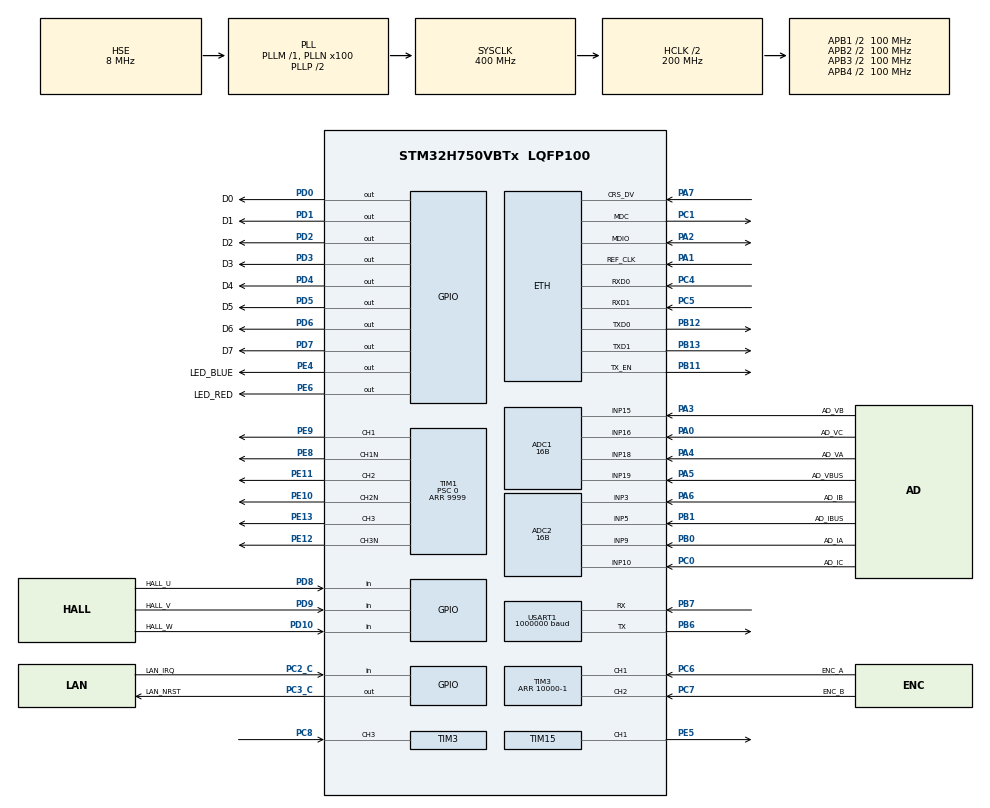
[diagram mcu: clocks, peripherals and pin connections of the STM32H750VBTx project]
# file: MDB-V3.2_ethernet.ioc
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ADC1.Channel-0\#ChannelRegularConversion=ADC_CHANNEL_18
ADC1.Channel-1\#ChannelRegularConversion=ADC_CHANNEL_15
ADC1.Channel-2\#ChannelRegularConversion=ADC_CHANNEL_16
ADC1.Channel-3\#ChannelRegularConversion=ADC_CHANNEL_19
ADC1.ClockPrescaler=ADC_CLOCK_SYNC_PCLK_DIV4
ADC1.ConversionDataManagement=ADC_CONVERSIONDATA_DMA_CIRCULAR
ADC1.EOCSelection=ADC_EOC_SEQ_CONV
ADC1.ExternalTrigConv=ADC_EXTERNALTRIG_T1_TRGO
ADC1.ExternalTrigConvEdge=ADC_EXTERNALTRIGCONVEDGE_RISINGFALLING
ADC1.NbrOfConversion=4
ADC1.NbrOfConversionFlag=1
ADC1.OffsetNumber-0\#ChannelRegularConversion=ADC_OFFSET_NONE
ADC1.OffsetNumber-1\#ChannelRegularConversion=ADC_OFFSET_NONE
ADC1.OffsetNumber-2\#ChannelRegularConversion=ADC_OFFSET_NONE
ADC1.OffsetNumber-3\#ChannelRegularConversion=ADC_OFFSET_NONE
ADC1.OffsetSignedSaturation-0\#ChannelRegularConversion=DISABLE
ADC1.Rank-0\#ChannelRegularConversion=1
ADC1.Rank-1\#ChannelRegularConversion=2
ADC1.Rank-2\#ChannelRegularConversion=3
ADC1.Rank-3\#ChannelRegularConversion=4
ADC1.Resolution=ADC_RESOLUTION_16B
ADC1.SamplingTime-0\#ChannelRegularConversion=ADC_SAMPLETIME_16CYCLES_5
ADC1.SamplingTime-1\#ChannelRegularConversion=ADC_SAMPLETIME_16CYCLES_5
ADC1.SamplingTime-2\#ChannelRegularConversion=ADC_SAMPLETIME_16CYCLES_5
ADC1.SamplingTime-3\#ChannelRegularConversion=ADC_SAMPLETIME_16CYCLES_5
ADC1.master=1
ADC2.Channel-0\#ChannelRegularConversion=ADC_CHANNEL_9
ADC2.Channel-1\#ChannelRegularConversion=ADC_CHANNEL_3
ADC2.Channel-2\#ChannelRegularConversion=ADC_CHANNEL_10
ADC2.Channel-3\#ChannelRegularConversion=ADC_CHANNEL_5
ADC2.ClockPrescaler=ADC_CLOCK_SYNC_PCLK_DIV4
ADC2.ConversionDataManagement=ADC_CONVERSIONDATA_DMA_CIRCULAR
ADC2.EOCSelection=ADC_EOC_SEQ_CONV
ADC2.ExternalTrigConv=ADC_EXTERNALTRIG_T1_TRGO
ADC2.ExternalTrigConvEdge=ADC_EXTERNALTRIGCONVEDGE_RISINGFALLING
ADC2.NbrOfConversion=4
ADC2.NbrOfConversionFlag=1
ADC2.OffsetNumber-0\#ChannelRegularConversion=ADC_OFFSET_NONE
ADC2.OffsetNumber-1\#ChannelRegularConversion=ADC_OFFSET_NONE
ADC2.OffsetNumber-2\#ChannelRegularConversion=ADC_OFFSET_NONE
ADC2.OffsetNumber-3\#ChannelRegularConversion=ADC_OFFSET_NONE
ADC2.OffsetSignedSaturation-0\#ChannelRegularConversion=DISABLE
ADC2.OffsetSignedSaturation-1\#ChannelRegularConversion=DISABLE
ADC2.OffsetSignedSaturation-2\#ChannelRegularConversion=DISABLE
ADC2.OffsetSignedSaturation-3\#ChannelRegularConversion=DISABLE
ADC2.Rank-0\#ChannelRegularConversion=1
ADC2.Rank-1\#ChannelRegularConversion=2
ADC2.Rank-2\#ChannelRegularConversion=3
ADC2.Rank-3\#ChannelRegularConversion=4
ADC2.Resolution=ADC_RESOLUTION_16B
ADC2.SamplingTime-0\#ChannelRegularConversion=ADC_SAMPLETIME_16CYCLES_5
ADC2.SamplingTime-1\#ChannelRegularConversion=ADC_SAMPLETIME_16CYCLES_5
ADC2.SamplingTime-2\#ChannelRegularConversion=ADC_SAMPLETIME_16CYCLES_5
ADC2.SamplingTime-3\#ChannelRegularConversion=ADC_SAMPLETIME_16CYCLES_5
CORTEX_M7.AccessPermission_S-Cortex_Memory_Protection_Unit_Region1_Settings_S=MPU_REGION_FULL_ACCESS
CORTEX_M7.AccessPermission_Spec=MPU_REGION_FULL_ACCESS
CORTEX_M7.BaseAddress_S-Cortex_Memory_Protection_Unit_Region1_Settings_S=0x30004000
CORTEX_M7.BaseAddress_Spec=0x30000000
CORTEX_M7.CPU_DCache=Enabled
CORTEX_M7.CPU_ICache=Enabled
CORTEX_M7.DisableExec_Spec=MPU_INSTRUCTION_ACCESS_ENABLE
CORTEX_M7.Enable-Cortex_Memory_Protection_Unit_Region0_Settings=__NULL
CORTEX_M7.Enable-Cortex_Memory_Protection_Unit_Region1_Settings=__NULL
CORTEX_M7.Enable_S-Cortex_Memory_Protection_Unit_Region1_Settings_S=MPU_REGION_ENABLE
CORTEX_M7.IsBufferable_S-Cortex_Memory_Protection_Unit_Region1_Settings_S=MPU_ACCESS_NOT_BUFFERABLE
CORTEX_M7.IsBufferable_Spec=MPU_ACCESS_BUFFERABLE
CORTEX_M7.IsCacheable_S-Cortex_Memory_Protection_Unit_Region1_Settings_S=MPU_ACCESS_NOT_CACHEABLE
CORTEX_M7.IsCacheable_Spec=MPU_ACCESS_NOT_CACHEABLE
CORTEX_M7.IsShareable_S-Cortex_Memory_Protection_Unit_Region1_Settings_S=MPU_ACCESS_SHAREABLE
CORTEX_M7.IsShareable_Spec=MPU_ACCESS_NOT_SHAREABLE
CORTEX_M7.MPU_Control=MPU_PRIVILEGED_DEFAULT
CORTEX_M7.Size_S-Cortex_Memory_Protection_Unit_Region1_Settings_S=MPU_REGION_SIZE_16KB
CORTEX_M7.Size_Spec=MPU_REGION_SIZE_256B
CORTEX_M7.SubRegionDisable_Spec=0x00
CORTEX_M7.TypeExtField_S-Cortex_Memory_Protection_Unit_Region1_Settings_S=MPU_TEX_LEVEL1
CORTEX_M7.default_mode_Activation=1
Dma.ADC1.0.Direction=DMA_PERIPH_TO_MEMORY
Dma.ADC1.0.EventEnable=DISABLE
Dma.ADC1.0.FIFOMode=DMA_FIFOMODE_DISABLE
Dma.ADC1.0.Instance=DMA1_Stream0
Dma.ADC1.0.MemDataAlignment=DMA_MDATAALIGN_HALFWORD
Dma.ADC1.0.MemInc=DMA_MINC_ENABLE
Dma.ADC1.0.Mode=DMA_CIRCULAR
Dma.ADC1.0.PeriphDataAlignment=DMA_PDATAALIGN_HALFWORD
Dma.ADC1.0.PeriphInc=DMA_PINC_DISABLE
Dma.ADC1.0.Polarity=HAL_DMAMUX_REQ_GEN_RISING
Dma.ADC1.0.Priority=DMA_PRIORITY_HIGH
Dma.ADC1.0.RequestNumber=1
Dma.ADC1.0.SignalID=NONE
Dma.ADC1.0.SyncEnable=DISABLE
Dma.ADC1.0.SyncPolarity=HAL_DMAMUX_SYNC_NO_EVENT
Dma.ADC1.0.SyncRequestNumber=1
Dma.ADC1.0.SyncSignalID=NONE
Dma.ADC2.1.Direction=DMA_PERIPH_TO_MEMORY
Dma.ADC2.1.EventEnable=DISABLE
Dma.ADC2.1.FIFOMode=DMA_FIFOMODE_DISABLE
Dma.ADC2.1.Instance=DMA1_Stream1
Dma.ADC2.1.MemDataAlignment=DMA_MDATAALIGN_HALFWORD
Dma.ADC2.1.MemInc=DMA_MINC_ENABLE
Dma.ADC2.1.Mode=DMA_CIRCULAR
Dma.ADC2.1.PeriphDataAlignment=DMA_PDATAALIGN_HALFWORD
Dma.ADC2.1.PeriphInc=DMA_PINC_DISABLE
Dma.ADC2.1.Polarity=HAL_DMAMUX_REQ_GEN_RISING
Dma.ADC2.1.Priority=DMA_PRIORITY_HIGH
Dma.ADC2.1.RequestNumber=1
Dma.ADC2.1.SignalID=NONE
Dma.ADC2.1.SyncEnable=DISABLE
Dma.ADC2.1.SyncPolarity=HAL_DMAMUX_SYNC_NO_EVENT
Dma.ADC2.1.SyncRequestNumber=1
Dma.ADC2.1.SyncSignalID=NONE
Dma.Request0=ADC1
Dma.Request1=ADC2
Dma.Request2=USART1_RX
Dma.Request3=USART1_TX
Dma.USART1_RX.2.Direction=DMA_PERIPH_TO_MEMORY
Dma.USART1_RX.2.EventEnable=DISABLE
Dma.USART1_RX.2.FIFOMode=DMA_FIFOMODE_DISABLE
Dma.USART1_RX.2.Instance=DMA1_Stream2
Dma.USART1_RX.2.MemDataAlignment=DMA_MDATAALIGN_BYTE
Dma.USART1_RX.2.MemInc=DMA_MINC_ENABLE
Dma.USART1_RX.2.Mode=DMA_NORMAL
Dma.USART1_RX.2.PeriphDataAlignment=DMA_PDATAALIGN_BYTE
Dma.USART1_RX.2.PeriphInc=DMA_PINC_DISABLE
Dma.USART1_RX.2.Polarity=HAL_DMAMUX_REQ_GEN_RISING
Dma.USART1_RX.2.Priority=DMA_PRIORITY_LOW
Dma.USART1_RX.2.RequestNumber=1
Dma.USART1_RX.2.SignalID=NONE
Dma.USART1_RX.2.SyncEnable=DISABLE
Dma.USART1_RX.2.SyncPolarity=HAL_DMAMUX_SYNC_NO_EVENT
Dma.USART1_RX.2.SyncRequestNumber=1
Dma.USART1_RX.2.SyncSignalID=NONE
Dma.USART1_TX.3.Direction=DMA_MEMORY_TO_PERIPH
Dma.USART1_TX.3.EventEnable=DISABLE
Dma.USART1_TX.3.FIFOMode=DMA_FIFOMODE_DISABLE
Dma.USART1_TX.3.Instance=DMA1_Stream3
Dma.USART1_TX.3.MemDataAlignment=DMA_MDATAALIGN_BYTE
Dma.USART1_TX.3.MemInc=DMA_MINC_ENABLE
Dma.USART1_TX.3.Mode=DMA_NORMAL
Dma.USART1_TX.3.PeriphDataAlignment=DMA_PDATAALIGN_BYTE
Dma.USART1_TX.3.PeriphInc=DMA_PINC_DISABLE
Dma.USART1_TX.3.Polarity=HAL_DMAMUX_REQ_GEN_RISING
Dma.USART1_TX.3.Priority=DMA_PRIORITY_LOW
Dma.USART1_TX.3.RequestNumber=1
Dma.USART1_TX.3.SignalID=NONE
Dma.USART1_TX.3.SyncEnable=DISABLE
Dma.USART1_TX.3.SyncPolarity=HAL_DMAMUX_SYNC_NO_EVENT
Dma.USART1_TX.3.SyncRequestNumber=1
Dma.USART1_TX.3.SyncSignalID=NONE
ETH.MediaInterface=HAL_ETH_RMII_MODE
ETH.RxBuffLen=1524
ETH.RxBufferAddress=0x30000200
ETH.RxDescAddress=0x30000000
ETH.TxDescAddress=0x30000060
LWIP.BSP.number=1
LWIP.GATEWAY_ADDRESS=192.168.001.001
LWIP.IP_ADDRESS=192.168.001.101
LWIP.LWIP_DHCP=0
LWIP.LWIP_RAM_HEAP_POINTER=0x30004000
LWIP.NETMASK_ADDRESS=255.255.255.000
LWIP.Version=v2.1.2_Cube
LWIP0.BSP.STBoard=false
LWIP0.BSP.api=BSP_COMPONENT_DRIVER
LWIP0.BSP.component=USER_PHY
LWIP0.BSP.instance=USER_PHY
LWIP0.BSP.name=Driver_PHY
LWIP0.BSP.semaphore=S_USER_PHY
LWIP0.BSP.solution=USER_PHY
Mcu.Family=STM32H7
Mcu.Name=STM32H750VBTx
Mcu.Package=LQFP100
NVIC.DMA1_Stream0_IRQn=true\:0\:0\:false\:false\:true\:false\:true\:true
NVIC.DMA1_Stream1_IRQn=true\:0\:0\:false\:false\:true\:false\:true\:true
NVIC.DMA1_Stream2_IRQn=true\:0\:0\:false\:false\:true\:false\:true\:true
NVIC.DMA1_Stream3_IRQn=true\:0\:0\:false\:false\:true\:false\:true\:true
NVIC.ETH_IRQn=true\:0\:0\:false\:false\:true\:true\:true\:true
NVIC.PriorityGroup=NVIC_PRIORITYGROUP_4
NVIC.TIM1_UP_IRQn=true\:0\:0\:false\:false\:true\:true\:true\:true
NVIC.TIM3_IRQn=true\:0\:0\:false\:false\:true\:true\:true\:true
NVIC.USART1_IRQn=true\:0\:0\:false\:false\:true\:true\:true\:true
PA0.GPIO_Label=AD_VC
PA0.Mode=IN16-Single-Ended
PA0.Signal=ADC1_INP16
PA1.GPIO_Speed=GPIO_SPEED_FREQ_VERY_HIGH
PA1.Mode=RMII
PA1.Signal=ETH_REF_CLK
PA13\ (JTMS/SWDIO).Mode=Serial_Wire
PA13\ (JTMS/SWDIO).Signal=DEBUG_JTMS-SWDIO
PA14\ (JTCK/SWCLK).Mode=Serial_Wire
PA14\ (JTCK/SWCLK).Signal=DEBUG_JTCK-SWCLK
PA2.GPIO_PuPd=GPIO_NOPULL
PA2.GPIO_Speed=GPIO_SPEED_FREQ_VERY_HIGH
PA2.Mode=RMII
PA2.Signal=ETH_MDIO
PA3.GPIO_Label=AD_VB
PA3.Signal=ADCx_INP15
PA4.GPIO_Label=AD_VA
PA4.Signal=ADCx_INP18
PA5.GPIO_Label=AD_VBUS
PA5.Signal=ADCx_INP19
PA6.GPIO_Label=AD_IB
PA6.Signal=ADCx_INP3
PA7.GPIO_Speed=GPIO_SPEED_FREQ_VERY_HIGH
PA7.Mode=RMII
PA7.Signal=ETH_CRS_DV
PB0.GPIO_Label=AD_IA
PB0.Signal=ADCx_INP9
PB1.GPIO_Label=AD_IBUS
PB1.Signal=ADCx_INP5
PB11.GPIO_Speed=GPIO_SPEED_FREQ_VERY_HIGH
PB11.Mode=RMII
PB11.Signal=ETH_TX_EN
PB12.GPIO_Speed=GPIO_SPEED_FREQ_VERY_HIGH
PB12.Mode=RMII
PB12.Signal=ETH_TXD0
PB13.GPIO_Speed=GPIO_SPEED_FREQ_VERY_HIGH
PB13.Mode=RMII
PB13.Signal=ETH_TXD1
PB6.GPIO_ModeDefaultOD=GPIO_MODE_AF_PP
PB6.Mode=Asynchronous
PB6.Signal=USART1_TX
PB7.Mode=Asynchronous
PB7.Signal=USART1_RX
PB8.Signal=FDCAN1_RX
PB9.Signal=FDCAN1_TX
PC0.GPIO_Label=AD_IC
PC0.Signal=ADCx_INP10
PC1.GPIO_Speed=GPIO_SPEED_FREQ_VERY_HIGH
PC1.Mode=RMII
PC1.Signal=ETH_MDC
PC2_C.GPIO_Label=LAN_IRQ
PC2_C.Signal=GPIO_Input
PC3_C.GPIO_Label=LAN_NRST
PC3_C.PinState=GPIO_PIN_SET
PC3_C.Signal=GPIO_Output
PC4.GPIO_Speed=GPIO_SPEED_FREQ_VERY_HIGH
PC4.Mode=RMII
PC4.Signal=ETH_RXD0
PC5.GPIO_Speed=GPIO_SPEED_FREQ_VERY_HIGH
PC5.Mode=RMII
PC5.Signal=ETH_RXD1
PC6.GPIO_Label=ENC_A
PC6.Signal=S_TIM3_CH1
PC7.GPIO_Label=ENC_B
PC7.Signal=S_TIM3_CH2
PC8.Signal=S_TIM3_CH3
PD0.GPIO_Label=D0
PD0.Signal=GPIO_Output
PD1.GPIO_Label=D1
PD1.Signal=GPIO_Output
PD10.GPIO_Label=HALL_W
PD10.Signal=GPIO_Input
PD2.GPIO_Label=D2
PD2.Signal=GPIO_Output
PD3.GPIO_Label=D3
PD3.Signal=GPIO_Output
PD4.GPIO_Label=D4
PD4.Signal=GPIO_Output
PD5.GPIO_Label=D5
PD5.Signal=GPIO_Output
PD6.GPIO_Label=D6
PD6.Signal=GPIO_Output
PD7.GPIO_Label=D7
PD7.Signal=GPIO_Output
PD8.GPIO_Label=HALL_U
PD8.Signal=GPIO_Input
PD9.GPIO_Label=HALL_V
PD9.Signal=GPIO_Input
PE10.GPIO_Speed=GPIO_SPEED_FREQ_HIGH
PE10.Mode=PWM Generation2 CH2 CH2N
PE10.Signal=TIM1_CH2N
PE11.GPIO_Speed=GPIO_SPEED_FREQ_HIGH
PE11.Signal=S_TIM1_CH2
PE12.GPIO_Speed=GPIO_SPEED_FREQ_HIGH
PE12.Mode=PWM Generation3 CH3 CH3N
PE12.Signal=TIM1_CH3N
PE13.GPIO_Speed=GPIO_SPEED_FREQ_HIGH
PE13.Signal=S_TIM1_CH3
PE4.GPIO_Label=LED_BLUE
PE4.Signal=GPIO_Output
PE5.GPIO_Speed=GPIO_SPEED_FREQ_VERY_HIGH
PE5.Signal=S_TIM15_CH1
PE6.GPIO_Label=LED_RED
PE6.Signal=GPIO_Output
PE8.GPIO_Speed=GPIO_SPEED_FREQ_HIGH
PE8.Mode=PWM Generation1 CH1 CH1N
PE8.Signal=TIM1_CH1N
PE9.GPIO_Speed=GPIO_SPEED_FREQ_HIGH
PE9.Signal=S_TIM1_CH1
PH0-OSC_IN\ (PH0).Mode=HSE-External-Oscillator
PH0-OSC_IN\ (PH0).Signal=RCC_OSC_IN
PH1-OSC_OUT\ (PH1).Mode=HSE-External-Oscillator
PH1-OSC_OUT\ (PH1).Signal=RCC_OSC_OUT
ProjectManager.HeapSize=0x800
ProjectManager.StackSize=0x1000
ProjectManager.TargetToolchain=STM32CubeIDE
RCC.ADCCLockSelection=RCC_ADCCLKSOURCE_CLKP
RCC.ADCFreq_Value=64000000
RCC.APB1Freq_Value=100000000
RCC.APB2Freq_Value=100000000
RCC.APB3Freq_Value=100000000
RCC.APB4Freq_Value=100000000
RCC.CortexFreq_Value=400000000
RCC.D1PPRE=RCC_APB3_DIV2
RCC.D2PPRE1=RCC_APB1_DIV2
RCC.D2PPRE2=RCC_APB2_DIV2
RCC.D3PPRE=RCC_APB4_DIV2
RCC.DIVM1=1
RCC.DIVM2=1
RCC.DIVM3=1
RCC.DIVN1=100
RCC.DIVN2=36
RCC.DIVN3=50
RCC.DIVQ1=8
RCC.DIVQ2=8
RCC.DIVR1=4
RCC.HCLKFreq_Value=200000000
RCC.HPRE=RCC_HCLK_DIV2
RCC.HSE_VALUE=8000000
RCC.PLL2FRACN=0
RCC.PLLFRACN=0
RCC.PLLSourceVirtual=RCC_PLLSOURCE_HSE
RCC.SYSCLKFreq_VALUE=400000000
RCC.SYSCLKSource=RCC_SYSCLKSOURCE_PLLCLK
RCC.USBFreq_Value=100000000
SH.ADCx_INP10.0=ADC2_INP10,IN10-Single-Ended
SH.ADCx_INP15.0=ADC1_INP15,IN15-Single-Ended
SH.ADCx_INP18.0=ADC1_INP18,IN18-Single-Ended
SH.ADCx_INP19.0=ADC1_INP19,IN19-Single-Ended
SH.ADCx_INP3.0=ADC2_INP3,IN3-Single-Ended
SH.ADCx_INP5.0=ADC2_INP5,IN5-Single-Ended
SH.ADCx_INP9.0=ADC2_INP9,IN9-Single-Ended
SH.S_TIM15_CH1.0=TIM15_CH1,PWM Generation1 CH1
SH.S_TIM1_CH1.0=TIM1_CH1,PWM Generation1 CH1 CH1N
SH.S_TIM1_CH2.0=TIM1_CH2,PWM Generation2 CH2 CH2N
SH.S_TIM1_CH3.0=TIM1_CH3,PWM Generation3 CH3 CH3N
SH.S_TIM3_CH1.0=TIM3_CH1,Encoder_Interface
SH.S_TIM3_CH2.0=TIM3_CH2,Encoder_Interface
SH.S_TIM3_CH3.0=TIM3_CH3,Input_Capture3_from_TI3
TIM1.AutoReloadPreload=TIM_AUTORELOAD_PRELOAD_ENABLE
TIM1.Channel-PWM\ Generation1\ CH1\ CH1N=TIM_CHANNEL_1
TIM1.Channel-PWM\ Generation2\ CH2\ CH2N=TIM_CHANNEL_2
TIM1.Channel-PWM\ Generation3\ CH3\ CH3N=TIM_CHANNEL_3
TIM1.CounterMode=TIM_COUNTERMODE_CENTERALIGNED3
TIM1.OCIdleState_1=TIM_OCIDLESTATE_SET
TIM1.OCIdleState_2=TIM_OCIDLESTATE_SET
TIM1.OCIdleState_3=TIM_OCIDLESTATE_SET
TIM1.OCMode_PWM-PWM\ Generation1\ CH1\ CH1N=TIM_OCMODE_PWM2
TIM1.OCMode_PWM-PWM\ Generation2\ CH2\ CH2N=TIM_OCMODE_PWM2
TIM1.OCMode_PWM-PWM\ Generation3\ CH3\ CH3N=TIM_OCMODE_PWM2
TIM1.OCPolarity_1=TIM_OCPOLARITY_LOW
TIM1.OCPolarity_2=TIM_OCPOLARITY_LOW
TIM1.OCPolarity_3=TIM_OCPOLARITY_LOW
TIM1.Period=9999
TIM1.Prescaler=0
TIM1.TIM_MasterOutputTrigger=TIM_TRGO_UPDATE
TIM15.Channel-PWM\ Generation1\ CH1=TIM_CHANNEL_1
TIM15.Period=7
TIM15.Pulse-PWM\ Generation1\ CH1=4
TIM3.Channel-Input_Capture3_from_TI3=TIM_CHANNEL_3
TIM3.EncoderMode=TIM_ENCODERMODE_TI12
TIM3.IC1Filter=15
TIM3.IC2Filter=15
TIM3.ICFilter_CH3=15
TIM3.Period=10000-1
TIM3.TIM_MasterSlaveMode=TIM_MASTERSLAVEMODE_DISABLE
USART1.BaudRate=1000000
USART1.VirtualMode-Asynchronous=VM_ASYNC
VP_LWIP_VS_Enabled.Mode=Enabled
VP_MEMORYMAP_VS_MEMORYMAP.Mode=CurAppReg
VP_TIM15_VS_ClockSourceINT.Mode=Internal
VP_TIM1_VS_ClockSourceINT.Mode=Internal
board=custom

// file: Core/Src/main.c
/* USER CODE BEGIN Header */
/**
  ******************************************************************************
  * @file           : main.c
  * @brief          : Main program body
  ******************************************************************************
  * @attention
  *
  * Copyright (c) 2025 STMicroelectronics.
  * All rights reserved.
  *
  * This software is licensed under terms that can be found in the LICENSE file
  * in the root directory of this software component.
  * If no LICENSE file comes with this software, it is provided AS-IS.
  *
  ******************************************************************************
  */
/* USER CODE END Header */
#include "main.h"
#include "adc.h"
#include "dma.h"
#include "lwip.h"
#include "tim.h"
#include "usart.h"
#include "gpio.h"

/* USER CODE BEGIN Includes */
#include <stdio.h>
#include <string.h>
#include <math.h>          // sin/cos 函数
#include "lwip/netif.h"
#include "lwip/stats.h"
#include "lwip/udp.h"      // UDP API
#include "lwip/pbuf.h"     // pbuf 管理
#include "lwip/ip4_addr.h" // IP 地址操作

// 重定向需要的头文件
#ifdef __GNUC__
#define PUTCHAR_PROTOTYPE int __io_putchar(int ch)
#else
#define PUTCHAR_PROTOTYPE int fputc(int ch, FILE *f)
#endif

/* USER CODE END Includes */

/* USER CODE BEGIN PV */
// ADC 数据缓冲区（DMA 循环模式,存储两次采样）
uint32_t adc1[8];  // ADC1 数据缓冲区（4 个通道 × 2 次采样 = 8）
uint32_t adc2[8];  // ADC2 数据缓冲区（4 个通道 × 2 次采样 = 8）

// SPWM 发生器变量
float spwm_angle = 0.0f;           // SPWM 相位角度 (0-360°)
const float spwm_freq = 50.0f;     // SPWM 频率 50Hz
float spwm_duty_min = 0.2f;        // 最小占空比 20%
float spwm_duty_max = 0.8f;        // 最大占空比 80%

// UDP 目标地址（动态获取）
ip_addr_t remote_ip;               // 远程 IP 地址
uint16_t remote_port = 0;          // 远程端口号
uint8_t remote_addr_valid = 0;     // 远程地址有效标志

// UDP 发送缓冲区（1KB）
#define UDP_BUFFER_SIZE 1024
uint8_t udp_tx_buffer[UDP_BUFFER_SIZE];
uint16_t udp_buffer_index = 0;     // 当前缓冲区写入位置
uint32_t last_send_tick = 0;       // 上次发送时间戳（单位: TIM1 中断次数）
/* USER CODE END PV */

void SystemClock_Config(void);
void PeriphCommonClock_Config(void);
static void MPU_Config(void);

/* USER CODE BEGIN 0 */

// 外部变量声明
extern ETH_HandleTypeDef heth;
extern struct netif gnetif;

// 串口重定向printf - 支持多种编译器
#ifdef __GNUC__
int __io_putchar(int ch)
{
  HAL_UART_Transmit(&huart1, (uint8_t *)&ch, 1, HAL_MAX_DELAY);
  return ch;
}

// 为GCC添加_write函数支持
int _write(int file, char *ptr, int len)
{
  int DataIdx;
  for (DataIdx = 0; DataIdx < len; DataIdx++)
  {
    __io_putchar(*ptr++);
  }
  return len;
}
#else
int fputc(int ch, FILE *f)
{
  HAL_UART_Transmit(&huart1, (uint8_t *)&ch, 1, HAL_MAX_DELAY);
  return ch;
}
#endif

//=============================================================================
// LAN9303 交换机寄存器诊断
//=============================================================================

/* LAN9303 虚拟交换寄存器读取 (通过 MDIO Clause 22) */
uint32_t LAN9303_Read_VirtualReg(uint16_t reg_addr)
{
  uint32_t reg_low, reg_high;

  // 写入要访问的虚拟寄存器地址到 VIRT_PHY_ADDR (0x10)
  HAL_ETH_WritePHYRegister(&heth, 0, 0x10, reg_addr);

  // 从 VIRT_PHY_DATA_LOW (0x11) 和 VIRT_PHY_DATA_HIGH (0x12) 读取32位数据
  HAL_ETH_ReadPHYRegister(&heth, 0, 0x11, &reg_low);
  HAL_ETH_ReadPHYRegister(&heth, 0, 0x12, &reg_high);

  return (reg_high << 16) | reg_low;
}

/* 检查 LAN9303 交换机状态 */
void Check_LAN9303_Switch(void)
{
  printf("\r\n========== LAN9303 交换机寄存器诊断 ==========\r\n");

  // 1. 读取芯片 ID
  uint32_t chip_id = LAN9303_Read_VirtualReg(0x50);
  printf("Chip ID: 0x%08lX (应为 0x00009303)\r\n", chip_id);

  // 2. 读取 Switch 配置
  uint32_t sw_cfg = LAN9303_Read_VirtualReg(0x0400);
  printf("Switch Config (0x0400): 0x%08lX\r\n", sw_cfg);
  printf("  - Switch Enable: %s\r\n", (sw_cfg & (1<<7)) ? "✅ 启用" : "❌ 禁用");

  // 3. 读取 Port 0 (CPU Port) 配置
  uint32_t port0_cfg = LAN9303_Read_VirtualReg(0x0410);
  printf("Port 0 (CPU) Config (0x0410): 0x%08lX\r\n", port0_cfg);
  printf("  - RX Enable: %s\r\n", (port0_cfg & (1<<2)) ? "✅" : "❌");
  printf("  - TX Enable: %s\r\n", (port0_cfg & (1<<1)) ? "✅" : "❌");

  // 4. 读取 Port 1 配置
  uint32_t port1_cfg = LAN9303_Read_VirtualReg(0x0420);
  printf("Port 1 Config (0x0420): 0x%08lX\r\n", port1_cfg);
  printf("  - RX Enable: %s\r\n", (port1_cfg & (1<<2)) ? "✅" : "❌");
  printf("  - TX Enable: %s\r\n", (port1_cfg & (1<<1)) ? "✅" : "❌");

  // 5. 读取 Port 2 配置
  uint32_t port2_cfg = LAN9303_Read_VirtualReg(0x0430);
  printf("Port 2 Config (0x0430): 0x%08lX\r\n", port2_cfg);
  printf("  - RX Enable: %s\r\n", (port2_cfg & (1<<2)) ? "✅" : "❌");
  printf("  - TX Enable: %s\r\n", (port2_cfg & (1<<1)) ? "✅" : "❌");

  // 6. 读取 VLAN 配置
  uint32_t vlan_port0 = LAN9303_Read_VirtualReg(0x0440);
  uint32_t vlan_port1 = LAN9303_Read_VirtualReg(0x0444);
  uint32_t vlan_port2 = LAN9303_Read_VirtualReg(0x0448);
  printf("VLAN Port Members:\r\n");
  printf("  Port 0: 0x%08lX (Bits: ", vlan_port0);
  if (vlan_port0 & (1<<0)) printf("P0 ");
  if (vlan_port0 & (1<<1)) printf("P1 ");
  if (vlan_port0 & (1<<2)) printf("P2");
  printf(")\r\n");
  printf("  Port 1: 0x%08lX (Bits: ", vlan_port1);
  if (vlan_port1 & (1<<0)) printf("P0 ");
  if (vlan_port1 & (1<<1)) printf("P1 ");
  if (vlan_port1 & (1<<2)) printf("P2");
  printf(")\r\n");
  printf("  Port 2: 0x%08lX (Bits: ", vlan_port2);
  if (vlan_port2 & (1<<0)) printf("P0 ");
  if (vlan_port2 & (1<<1)) printf("P1 ");
  if (vlan_port2 & (1<<2)) printf("P2");
  printf(")\r\n");

  // 检查关键问题：Port 0 能否向 Port 1/2 转发
  if (!(vlan_port0 & ((1<<1) | (1<<2)))) {
    printf("\r\n⚠️⚠️⚠️ 警告：Port 0 (CPU) 无法转发到 Port 1/2！\r\n");
    printf("这会导致 STM32 发送的数据无法到达外部网络。\r\n");
  } else {
    printf("\r\n✅ Port 0 可以转发到外部端口。\r\n");
  }

  printf("============================================\r\n");
}

//=============================================================================
// 以太网基本状态显示（精简版）
//=============================================================================

/* 显示网络基本信息 */
void Show_Network_Info(void)
{
  printf("\r\n========== 网络状态 ==========\r\n");
  printf("  IP: %s\r\n", ip4addr_ntoa(netif_ip4_addr(&gnetif)));
  printf("  Netmask: %s\r\n", ip4addr_ntoa(netif_ip4_netmask(&gnetif)));
  printf("  Gateway: %s\r\n", ip4addr_ntoa(netif_ip4_gw(&gnetif)));
  printf("  MAC: %02X:%02X:%02X:%02X:%02X:%02X\r\n",
         gnetif.hwaddr[0], gnetif.hwaddr[1], gnetif.hwaddr[2],
         gnetif.hwaddr[3], gnetif.hwaddr[4], gnetif.hwaddr[5]);
  printf("  Link: %s\r\n", netif_is_link_up(&gnetif) ? "UP" : "DOWN");
  printf("  Netif: %s\r\n", netif_is_up(&gnetif) ? "UP" : "DOWN");
  printf("  连接模式: 直连（无路由器）\r\n");
  printf("==============================\r\n");
}

//=============================================================================
// UDP Echo Server（UDP 回显服务器）
//=============================================================================

static struct udp_pcb *udp_echo_pcb = NULL;

/* UDP 接收回调函数（接收 PC 数据包，记录远程地址）*/
void udp_echo_recv_callback(void *arg, struct udp_pcb *pcb, struct pbuf *p,
                           const ip_addr_t *addr, u16_t port)
{
  if (p != NULL)
  {
    // 记录远程 IP 和端口（首次接收或更新）
    ip_addr_copy(remote_ip, *addr);
    remote_port = port;
    remote_addr_valid = 1;

    // 释放接收的数据包（不需要回显）
    pbuf_free(p);
  }
}

/* 初始化 UDP Echo Server */
void UDP_Echo_Server_Init(uint16_t port)
{
  err_t err;

  // 创建 UDP PCB（使用 IP_PROTO_UDP）
  udp_echo_pcb = udp_new_ip_type(IPADDR_TYPE_V4);

  if (udp_echo_pcb != NULL)
  {
    // 绑定到本地 IP 和指定端口（明确绑定到 gnetif 的 IP）
    err = udp_bind(udp_echo_pcb, netif_ip4_addr(&gnetif), port);

    if (err == ERR_OK)
    {
      // 设置接收回调函数
      udp_recv(udp_echo_pcb, udp_echo_recv_callback, NULL);
      printf("[UDP] Echo Server 已启动，监听端口 %d\r\n", port);
    }
    else
    {
      printf("[UDP] ❌ 绑定端口失败\r\n");
      udp_remove(udp_echo_pcb);
      udp_echo_pcb = NULL;
    }
  }
  else
  {
    printf("[UDP] ❌ 创建 PCB 失败\r\n");
  }
}

//=============================================================================
// 以太网状态显示（精简版 - 仅保留基本信息）
//=============================================================================

/* 显示 lwIP 统计信息（精简版）*/
void Show_lwIP_Stats(void)
{
  printf("\r\n[lwIP Stats]\r\n");

#if LWIP_STATS
  printf("  Link: RX=%u TX=%u | ", lwip_stats.link.recv, lwip_stats.link.xmit);
  printf("IP: RX=%u TX=%u | ", lwip_stats.ip.recv, lwip_stats.ip.xmit);
  printf("ICMP: RX=%u TX=%u | ", lwip_stats.icmp.recv, lwip_stats.icmp.xmit);
  printf("UDP: RX=%u TX=%u\r\n", lwip_stats.udp.recv, lwip_stats.udp.xmit);
#else
  printf("  Statistics disabled\r\n");
#endif
}

/* 旧的详细诊断函数 - 保留用于故障排查 */
void _OLD_Test_MDIO_ReadWrite(void)
{
  printf("\r\n========== MDIO 读写测试 ==========\r\n");
  printf("  LAN9303 PHY 地址映射:\r\n");
  printf("    PHY0 = 虚拟 CPU 端口 (STM32 连接)\r\n");
  printf("    PHY1 = Port1 外部端口\r\n");
  printf("    PHY2 = Port2 外部端口\r\n\r\n");

  // 扫描 PHY 地址 0-2
  for(uint32_t phy_addr = 0; phy_addr <= 2; phy_addr++)
  {
    uint32_t id1 = 0, id2 = 0, bmsr = 0, bmcr = 0;

    if(HAL_ETH_ReadPHYRegister(&heth, phy_addr, 2, &id1) == HAL_OK &&
       HAL_ETH_ReadPHYRegister(&heth, phy_addr, 3, &id2) == HAL_OK)
    {
      HAL_ETH_ReadPHYRegister(&heth, phy_addr, 0, &bmcr);
      HAL_ETH_ReadPHYRegister(&heth, phy_addr, 1, &bmsr);

      printf("  PHY[%lu]: ID1=0x%04lX ID2=0x%04lX BMCR=0x%04lX BMSR=0x%04lX\r\n",
             phy_addr, id1 & 0xFFFF, id2 & 0xFFFF, bmcr & 0xFFFF, bmsr & 0xFFFF);
      printf("         Link=%s, Speed=%s, Duplex=%s\r\n",
             (bmsr & (1<<2)) ? "UP" : "DOWN",
             (bmcr & (1<<13)) ? "100M" : "10M",
             (bmcr & (1<<8)) ? "Full" : "Half");
    }
  }

  // MDIO 写入测试 (测试 PHY0 的 BMCR 寄存器部分位)
  uint32_t original_bmcr = 0, modified_bmcr = 0;
  printf("\r\n  MDIO 写入测试 (PHY0):\r\n");

  // 读取原始 BMCR
  HAL_ETH_ReadPHYRegister(&heth, 0, 0, &original_bmcr);
  printf("    原始 BMCR = 0x%04lX\r\n", original_bmcr & 0xFFFF);

  // 测试写入 (切换 Loopback bit 15, 不影响通信)
  uint32_t test_val = original_bmcr ^ (1<<15);  // 翻转 Loopback 位
  HAL_ETH_WritePHYRegister(&heth, 0, 0, test_val);
  HAL_Delay(10);
  HAL_ETH_ReadPHYRegister(&heth, 0, 0, &modified_bmcr);
  printf("    写入后   = 0x%04lX\r\n", modified_bmcr & 0xFFFF);

  // 恢复原始值
  HAL_ETH_WritePHYRegister(&heth, 0, 0, original_bmcr);
  HAL_Delay(10);

  printf("    结果: %s\r\n",
         (modified_bmcr == test_val) ? "✅ MDIO 读写正常" : "⚠️ 写入部分成功");

  printf("==========================================\r\n");
}

/* 2. ETH 寄存器状态检查 */
void Check_ETH_Registers(void)
{
  printf("\r\n========== ETH 寄存器状态 ==========\r\n");

  // MAC 配置寄存器
  uint32_t maccr = heth.Instance->MACCR;
  printf("  MACCR   = 0x%08lX\r\n", maccr);
  printf("    Speed=%s, Duplex=%s, Loopback=%s\r\n",
         (maccr & ETH_MACCR_FES) ? "100M" : "10M",
         (maccr & ETH_MACCR_DM) ? "Full" : "Half",
         (maccr & ETH_MACCR_LM) ? "ON" : "OFF");

  // DMA 状态寄存器
  printf("  DMACSR  = 0x%08lX\r\n", heth.Instance->DMACSR);
  printf("  DMADSR  = 0x%08lX ", heth.Instance->DMADSR);
  uint32_t dmadsr = heth.Instance->DMADSR;
  printf("(TxState=%lu, RxState=%lu)\r\n",
         (dmadsr >> 12) & 0xF, (dmadsr >> 8) & 0xF);

  // DMA 中断状态
  printf("  DMAISR  = 0x%08lX\r\n", heth.Instance->DMAISR);

  // 描述符地址
  printf("  Tx Desc = 0x%08lX\r\n", (uint32_t)heth.Instance->DMACTDLAR);
  printf("  Rx Desc = 0x%08lX\r\n", (uint32_t)heth.Instance->DMACRDLAR);

  printf("==========================================\r\n");
}

/* 3. lwIP 网络接口状态 */
void Check_lwIP_Netif(void)
{
  printf("\r\n========== lwIP Netif 状态 ==========\r\n");

  // netif 基本状态
  printf("  netif.flags   = 0x%02X\r\n", gnetif.flags);
  printf("    UP=%d, Link=%d, Broadcast=%d\r\n",
         !!(gnetif.flags & NETIF_FLAG_UP),
         !!(gnetif.flags & NETIF_FLAG_LINK_UP),
         !!(gnetif.flags & NETIF_FLAG_BROADCAST));

  // IP 配置
  printf("  IP Address    = %u.%u.%u.%u\r\n",
         ip4_addr1(&gnetif.ip_addr), ip4_addr2(&gnetif.ip_addr),
         ip4_addr3(&gnetif.ip_addr), ip4_addr4(&gnetif.ip_addr));
  printf("  Netmask       = %u.%u.%u.%u\r\n",
         ip4_addr1(&gnetif.netmask), ip4_addr2(&gnetif.netmask),
         ip4_addr3(&gnetif.netmask), ip4_addr4(&gnetif.netmask));
  printf("  Gateway       = %u.%u.%u.%u\r\n",
         ip4_addr1(&gnetif.gw), ip4_addr2(&gnetif.gw),
         ip4_addr3(&gnetif.gw), ip4_addr4(&gnetif.gw));

  // MAC 地址
  printf("  MAC Address   = %02X:%02X:%02X:%02X:%02X:%02X\r\n",
         gnetif.hwaddr[0], gnetif.hwaddr[1], gnetif.hwaddr[2],
         gnetif.hwaddr[3], gnetif.hwaddr[4], gnetif.hwaddr[5]);

  printf("==========================================\r\n");
}

/* 4. lwIP 协议栈统计 */
void Check_lwIP_Stats(void)
{
  printf("\r\n========== lwIP 统计信息 ==========\r\n");

#if LWIP_STATS
  printf("  [Link] RX=%u TX=%u Drop=%u Err=%u\r\n",
         lwip_stats.link.recv, lwip_stats.link.xmit,
         lwip_stats.link.drop, lwip_stats.link.err);

  printf("  [IP4]  RX=%u TX=%u Drop=%u Err=%u\r\n",
         lwip_stats.ip.recv, lwip_stats.ip.xmit,
         lwip_stats.ip.drop, lwip_stats.ip.err);

  printf("  [ICMP] RX=%u TX=%u Drop=%u Err=%u\r\n",
         lwip_stats.icmp.recv, lwip_stats.icmp.xmit,
         lwip_stats.icmp.drop, lwip_stats.icmp.err);

  printf("  [UDP]  RX=%u TX=%u Drop=%u\r\n",
         lwip_stats.udp.recv, lwip_stats.udp.xmit, lwip_stats.udp.drop);
#else
  printf("  ⚠️ LWIP_STATS 未启用，无详细统计\r\n");
#endif

  printf("==========================================\r\n");
}

/* 5. RMII 数据收发测试 */
void Check_RMII_Activity(void)
{
  printf("\r\n========== RMII 数据活动检测 ==========\r\n");

  // 读取 DMA 计数器（如果硬件支持）
  // 注意：STM32H7 的 ETH 没有直接的包计数寄存器，需要通过 DMA 状态判断

  uint32_t dmadsr = heth.Instance->DMADSR;
  uint32_t tx_state = (dmadsr >> 12) & 0xF;
  uint32_t rx_state = (dmadsr >> 8) & 0xF;

  printf("  DMA Tx State: ");
  switch(tx_state) {
    case 0: printf("Stopped\r\n"); break;
    case 1: printf("Fetching Desc\r\n"); break;
    case 2: printf("Waiting for Status\r\n"); break;
    case 3: printf("Reading Data\r\n"); break;
    case 6: printf("Suspended\r\n"); break;
    case 7: printf("Closing Desc\r\n"); break;
    default: printf("Unknown (%lu)\r\n", tx_state); break;
  }

  printf("  DMA Rx State: ");
  switch(rx_state) {
    case 0: printf("Stopped\r\n"); break;
    case 1: printf("Fetching Desc\r\n"); break;
    case 3: printf("Waiting for Packet\r\n"); break;
    case 5: printf("Closing Desc\r\n"); break;
    case 7: printf("Transferring Data\r\n"); break;
    default: printf("Unknown (%lu)\r\n", rx_state); break;
  }

  // 检查是否有错误标志
  uint32_t dmaisr = heth.Instance->DMAISR;
  if(dmaisr & 0xFFFF) {
    printf("  ⚠️ DMA 中断标志: 0x%04lX\r\n", dmaisr & 0xFFFF);
  } else {
    printf("  ✅ 无 DMA 错误\r\n");
  }

  printf("==========================================\r\n");
}

/* 6. 主动发送 ARP 测试 TX 功能 */
void Test_ARP_Request(void)
{
  printf("\r\n========== ARP 请求测试 ==========\r\n");

  // 目标 IP: 192.168.1.1 (网关)
  ip4_addr_t target_ip;
  IP4_ADDR(&target_ip, 192, 168, 1, 1);

  printf("  发送 ARP 请求到 192.168.1.1...\r\n");

  // 发送 ARP 请求
  err_t result = etharp_request(&gnetif, &target_ip);

  if (result == ERR_OK) {
    printf("  ✅ ARP 请求已发送\r\n");
  } else {
    printf("  ❌ ARP 请求发送失败 (err=%d)\r\n", result);
  }

  printf("==========================================\r\n");
}

/* 完整诊断入口 */
void Run_Full_Diagnostics(void)
{
  printf("\r\n\r\n");
  printf("##################################################\r\n");
  printf("#         以太网完整诊断 - %lu ms           #\r\n", HAL_GetTick());
  printf("##################################################\r\n");

  Check_DMA_Descriptors();  // 首先检查 DMA 描述符
  Test_MDIO_ReadWrite();
  Check_ETH_Registers();
  Check_lwIP_Netif();
  Check_lwIP_Stats();
  Check_RMII_Activity();
  Test_ARP_Request();  // 测试 TX 发送

  printf("\r\n");
}

/* USER CODE END 0 */

int main(void)
{

  /* MPU Configuration--------------------------------------------------------*/
  MPU_Config();

  /* Enable the CPU Cache */

  /* Enable I-Cache---------------------------------------------------------*/
  SCB_EnableICache();

  /* Enable D-Cache---------------------------------------------------------*/
  SCB_EnableDCache();

  /* MCU Configuration--------------------------------------------------------*/

  /* Reset of all peripherals, Initializes the Flash interface and the Systick. */
  HAL_Init();

  /* Configure the system clock */
  SystemClock_Config();

  /* Configure the peripherals common clocks */
  PeriphCommonClock_Config();

  /* USER CODE BEGIN SysInit */
  __HAL_RCC_D2SRAM1_CLK_ENABLE();  // 使能 D2 SRAM1 时钟，用于 LWIP 内存
  /* USER CODE END SysInit */

  /* Initialize all configured peripherals */
  MX_GPIO_Init();
  MX_DMA_Init();
  MX_ADC1_Init();
  MX_TIM15_Init();
  MX_USART1_UART_Init();
  MX_ADC2_Init();
  MX_TIM1_Init();
  MX_TIM3_Init();
//  MX_LWIP_Init();
  /* USER CODE BEGIN 2 */

  /* ========== 外设启动初始化 ========== */

  /* GPIO 初始化延时 */
  HAL_Delay(100);

  /* UART 接收超时配置（可选，用于接收不定长数据） */
  HAL_UART_EnableReceiverTimeout(&huart1);
  HAL_UART_ReceiverTimeout_Config(&huart1, 0xFF);

  /* ADC 校准（建议在启动 DMA 之前执行） */
  HAL_ADCEx_Calibration_Start(&hadc1, ADC_CALIB_OFFSET, ADC_SINGLE_ENDED);
  HAL_ADCEx_Calibration_Start(&hadc2, ADC_CALIB_OFFSET, ADC_SINGLE_ENDED);

  /* 启动 ADC DMA 循环采集（每个通道采样 2 次，共 8 个数据） */
  HAL_ADC_Start_DMA(&hadc1, (uint32_t *)adc1, 8);  // ADC1: 4 个通道 × 2 次 = 8
  HAL_ADC_Start_DMA(&hadc2, (uint32_t *)adc2, 8);  // ADC2: 4 个通道 × 2 次 = 8

  /* 启动 TIM3 编码器模式 */
  HAL_TIM_Encoder_Start(&htim3, TIM_CHANNEL_ALL);

  /* 启动 TIM3 通道 3 输入捕获中断 */
  HAL_TIM_IC_Start_IT(&htim3, TIM_CHANNEL_3);

  /* 启动 TIM1 PWM 输出（3 个通道） */
  HAL_TIM_PWM_Start(&htim1, TIM_CHANNEL_1);
  HAL_TIM_PWM_Start(&htim1, TIM_CHANNEL_2);
  HAL_TIM_PWM_Start(&htim1, TIM_CHANNEL_3);

  /* 启动 TIM1 互补输出（3 个通道） */
  HAL_TIMEx_PWMN_Start(&htim1, TIM_CHANNEL_1);
  HAL_TIMEx_PWMN_Start(&htim1, TIM_CHANNEL_2);
  HAL_TIMEx_PWMN_Start(&htim1, TIM_CHANNEL_3);

  /* 启动 TIM1 基础定时器中断 */
  HAL_TIM_Base_Start_IT(&htim1);

  /* ========== 以太网模块初始化 ========== */

  printf("\r\n========== 以太网初始化 ==========%s\r\n", "");

  /* 启动 TIM15 PWM 输出（为 LAN9303 提供 25MHz 时钟） */
  HAL_TIM_PWM_Start(&htim15, TIM_CHANNEL_1);
  HAL_Delay(100);

  /* 初始化 LWIP (包含以太网 HAL 初始化) */
  MX_LWIP_Init();

  SCB_CleanInvalidateDCache();
  /* 复位LAN9303并等待 */
  HAL_GPIO_WritePin(GPIOC, GPIO_PIN_3, GPIO_PIN_RESET);
  HAL_Delay(10);
  HAL_GPIO_WritePin(GPIOC, GPIO_PIN_3, GPIO_PIN_SET);
  HAL_Delay(100);
  printf("\r\n========== 初始化完成 ==========\r\n");

  /* 等待链路稳定 */
  HAL_Delay(500);

  /* 显示网络信息 */
  Show_Network_Info();

  /* 检查 LAN9303 交换机寄存器 */
  HAL_Delay(500); // 等待交换机稳定
  Check_LAN9303_Switch();

  /* 启动 UDP Echo Server (端口 7) */
  UDP_Echo_Server_Init(7);

  printf("\r\n系统就绪，等待 UDP 数据...\r\n\r\n");

  /* USER CODE END 2 */

  /* Infinite loop */
  /* USER CODE BEGIN WHILE */

  while (1)
  {
    /* 处理 lwIP 协议栈（高速模式：无延迟，无打印）*/
    MX_LWIP_Process();
    /* USER CODE END WHILE */

    /* USER CODE BEGIN 3 */

    /* 高速 UDP 优化：
     * - 移除所有周期性打印（避免串口阻塞）
     * - 移除 HAL_Delay(1)（避免不必要的延迟）
     * - 主循环专注于 lwIP 处理，最大化吞吐量
     */
  }
  /* USER CODE END 3 */
}

void SystemClock_Config(void)
{
  RCC_OscInitTypeDef RCC_OscInitStruct = {0};
  RCC_ClkInitTypeDef RCC_ClkInitStruct = {0};

  /** Supply configuration update enable
  */
  HAL_PWREx_ConfigSupply(PWR_LDO_SUPPLY);

  /** Configure the main internal regulator output voltage
  */
  __HAL_PWR_VOLTAGESCALING_CONFIG(PWR_REGULATOR_VOLTAGE_SCALE1);

  while(!__HAL_PWR_GET_FLAG(PWR_FLAG_VOSRDY)) {}

  /** Initializes the RCC Oscillators according to the specified parameters
  * in the RCC_OscInitTypeDef structure.
  */
  RCC_OscInitStruct.OscillatorType = RCC_OSCILLATORTYPE_HSI|RCC_OSCILLATORTYPE_HSE;
  RCC_OscInitStruct.HSEState = RCC_HSE_ON;
  RCC_OscInitStruct.HSIState = RCC_HSI_DIV1;
  RCC_OscInitStruct.HSICalibrationValue = RCC_HSICALIBRATION_DEFAULT;
  RCC_OscInitStruct.PLL.PLLState = RCC_PLL_ON;
  RCC_OscInitStruct.PLL.PLLSource = RCC_PLLSOURCE_HSE;
  RCC_OscInitStruct.PLL.PLLM = 1;
  RCC_OscInitStruct.PLL.PLLN = 100;
  RCC_OscInitStruct.PLL.PLLP = 2;
  RCC_OscInitStruct.PLL.PLLQ = 8;
  RCC_OscInitStruct.PLL.PLLR = 4;
  RCC_OscInitStruct.PLL.PLLRGE = RCC_PLL1VCIRANGE_3;
  RCC_OscInitStruct.PLL.PLLVCOSEL = RCC_PLL1VCOWIDE;
  RCC_OscInitStruct.PLL.PLLFRACN = 0;
  if (HAL_RCC_OscConfig(&RCC_OscInitStruct) != HAL_OK)
  {
    Error_Handler();
  }

  /** Initializes the CPU, AHB and APB buses clocks
  */
  RCC_ClkInitStruct.ClockType = RCC_CLOCKTYPE_HCLK|RCC_CLOCKTYPE_SYSCLK
                              |RCC_CLOCKTYPE_PCLK1|RCC_CLOCKTYPE_PCLK2
                              |RCC_CLOCKTYPE_D3PCLK1|RCC_CLOCKTYPE_D1PCLK1;
  RCC_ClkInitStruct.SYSCLKSource = RCC_SYSCLKSOURCE_PLLCLK;
  RCC_ClkInitStruct.SYSCLKDivider = RCC_SYSCLK_DIV1;
  RCC_ClkInitStruct.AHBCLKDivider = RCC_HCLK_DIV2;
  RCC_ClkInitStruct.APB3CLKDivider = RCC_APB3_DIV2;
  RCC_ClkInitStruct.APB1CLKDivider = RCC_APB1_DIV2;
  RCC_ClkInitStruct.APB2CLKDivider = RCC_APB2_DIV2;
  RCC_ClkInitStruct.APB4CLKDivider = RCC_APB4_DIV2;

  if (HAL_RCC_ClockConfig(&RCC_ClkInitStruct, FLASH_LATENCY_2) != HAL_OK)
  {
    Error_Handler();
  }
}

void PeriphCommonClock_Config(void)
{
  RCC_PeriphCLKInitTypeDef PeriphClkInitStruct = {0};

  /** Initializes the peripherals clock
  */
  PeriphClkInitStruct.PeriphClockSelection = RCC_PERIPHCLK_CKPER;
  PeriphClkInitStruct.CkperClockSelection = RCC_CLKPSOURCE_HSI;
  if (HAL_RCCEx_PeriphCLKConfig(&PeriphClkInitStruct) != HAL_OK)
  {
    Error_Handler();
  }
}

/* USER CODE BEGIN 4 */

//=============================================================================
// TIM1 更新中断回调函数 - 10kHz 中断频率
// - 生成三相 50Hz SPWM 波形（相位差 120°）
// - 采集 ADC 数据并通过 UDP 发送
//=============================================================================

// 数学常量
#define PI 3.14159265358979323846f
#define DEG_TO_RAD (PI / 180.0f)

// TIM1 参数（中心对齐模式：向上和向下都触发中断）
#define TIM1_PERIOD 9999                    // TIM1 ARR 值
#define TIM1_FREQ 20000.0f                  // TIM1 中断频率 20kHz（中心对齐模式 = 200MHz / 10000）
#define SPWM_FREQ 50.0f                     // SPWM 输出频率 50Hz
#define ANGLE_INCREMENT (360.0f * SPWM_FREQ / TIM1_FREQ)  // 每次中断角度增量 = 0.9°

// UDP 发送控制（1ms 或缓冲区满时发送）
#define UDP_SEND_TIMEOUT 20                 // 超时时间 20 次中断 = 1ms（20kHz → 0.05ms/次）
static uint16_t adc_sample_counter = 0;     // ADC 采样计数器（每 20 次中断采样一次）

// ADC 数据结构（用于 UDP 发送）
typedef struct {
  uint16_t adc1_ch[4];  // ADC1 的 4 个通道平均值
  uint16_t adc2_ch[4];  // ADC2 的 4 个通道平均值
} ADC_Data_t;

/* UDP 发送函数（缓冲区满或超时时调用）*/
void UDP_Send_Buffer(void)
{
  if (!remote_addr_valid || udp_buffer_index == 0) {
    return;  // 无有效地址或缓冲区为空，不发送
  }

  // 如果数据不足 1KB，用 0 补齐
  if (udp_buffer_index < UDP_BUFFER_SIZE) {
    memset(&udp_tx_buffer[udp_buffer_index], 0, UDP_BUFFER_SIZE - udp_buffer_index);
  }

  // 通过 UDP 发送整个缓冲区（1KB）
  struct pbuf *p = pbuf_alloc(PBUF_TRANSPORT, UDP_BUFFER_SIZE, PBUF_RAM);
  if (p != NULL)
  {
    memcpy(p->payload, udp_tx_buffer, UDP_BUFFER_SIZE);
    udp_sendto(udp_echo_pcb, p, &remote_ip, remote_port);
    pbuf_free(p);
  }

  // 重置缓冲区
  udp_buffer_index = 0;
  last_send_tick = 0;
}

/* TIM1 更新中断回调函数（20kHz 中断频率）*/
void HAL_TIM_PeriodElapsedCallback(TIM_HandleTypeDef *htim)
{
  if (htim->Instance == TIM1)
  {
    // ========== 1. 生成三相 SPWM 波形（每次中断更新）==========

    // 更新相位角度（0-360°）
    spwm_angle += ANGLE_INCREMENT;
    if (spwm_angle >= 360.0f) {
      spwm_angle -= 360.0f;
    }

    // 计算三相正弦波（相位差 120°）
    float sin_a = sinf(spwm_angle * DEG_TO_RAD);                      // A 相: 0°
    float sin_b = sinf((spwm_angle - 120.0f) * DEG_TO_RAD);           // B 相: -120°
    float sin_c = sinf((spwm_angle + 120.0f) * DEG_TO_RAD);           // C 相: +120°

    // 转换为占空比（20%-80%）
    // sin 范围 [-1, 1] → 映射到 [0.2, 0.8]
    float duty_a = spwm_duty_min + (sin_a + 1.0f) * 0.5f * (spwm_duty_max - spwm_duty_min);
    float duty_b = spwm_duty_min + (sin_b + 1.0f) * 0.5f * (spwm_duty_max - spwm_duty_min);
    float duty_c = spwm_duty_min + (sin_c + 1.0f) * 0.5f * (spwm_duty_max - spwm_duty_min);

    // 更新 PWM 占空比（TIM1 CH1/CH2/CH3）
    __HAL_TIM_SET_COMPARE(&htim1, TIM_CHANNEL_1, (uint32_t)(duty_a * TIM1_PERIOD));
    __HAL_TIM_SET_COMPARE(&htim1, TIM_CHANNEL_2, (uint32_t)(duty_b * TIM1_PERIOD));
    __HAL_TIM_SET_COMPARE(&htim1, TIM_CHANNEL_3, (uint32_t)(duty_c * TIM1_PERIOD));

    // ========== 2. 采集 ADC 数据并写入缓冲区（每 20 次中断 = 1ms）==========

    adc_sample_counter++;
    if (adc_sample_counter >= UDP_SEND_TIMEOUT)
    {
      adc_sample_counter = 0;
      last_send_tick++;  // 递增超时计数器

      // 检查远程地址是否有效
      if (remote_addr_valid)
      {
        // 计算 ADC 平均值（每个通道取两次采样的平均）
        ADC_Data_t adc_data;

        // ADC1: 通道 0-3（数组索引 0,4 | 1,5 | 2,6 | 3,7）
        adc_data.adc1_ch[0] = (uint16_t)((adc1[0] + adc1[4]) / 2);
        adc_data.adc1_ch[1] = (uint16_t)((adc1[1] + adc1[5]) / 2);
        adc_data.adc1_ch[2] = (uint16_t)((adc1[2] + adc1[6]) / 2);
        adc_data.adc1_ch[3] = (uint16_t)((adc1[3] + adc1[7]) / 2);

        // ADC2: 通道 0-3（数组索引 0,4 | 1,5 | 2,6 | 3,7）
        adc_data.adc2_ch[0] = (uint16_t)((adc2[0] + adc2[4]) / 2);
        adc_data.adc2_ch[1] = (uint16_t)((adc2[1] + adc2[5]) / 2);
        adc_data.adc2_ch[2] = (uint16_t)((adc2[2] + adc2[6]) / 2);
        adc_data.adc2_ch[3] = (uint16_t)((adc2[3] + adc2[7]) / 2);

        // 写入缓冲区（16 字节）
        if (udp_buffer_index + sizeof(ADC_Data_t) <= UDP_BUFFER_SIZE)
        {
          memcpy(&udp_tx_buffer[udp_buffer_index], &adc_data, sizeof(ADC_Data_t));
          udp_buffer_index += sizeof(ADC_Data_t);
        }

        // 检查发送条件：缓冲区满 或 超时 1ms
        if (udp_buffer_index >= UDP_BUFFER_SIZE || last_send_tick >= 1)
        {
          UDP_Send_Buffer();
        }
      }
    }
  }
}

/* USER CODE END 4 */

 /* MPU Configuration */

void MPU_Config(void)
{
  MPU_Region_InitTypeDef MPU_InitStruct = {0};

  /* Disables the MPU */
  HAL_MPU_Disable();

  /** Initializes and configures the Region and the memory to be protected
  */
  MPU_InitStruct.Enable = MPU_REGION_ENABLE;
  MPU_InitStruct.Number = MPU_REGION_NUMBER0;
  MPU_InitStruct.BaseAddress = 0x30000000;
  MPU_InitStruct.Size = MPU_REGION_SIZE_256B;
  MPU_InitStruct.SubRegionDisable = 0x00;
  MPU_InitStruct.TypeExtField = MPU_TEX_LEVEL0;
  MPU_InitStruct.AccessPermission = MPU_REGION_FULL_ACCESS;
  MPU_InitStruct.DisableExec = MPU_INSTRUCTION_ACCESS_ENABLE;
  MPU_InitStruct.IsShareable = MPU_ACCESS_NOT_SHAREABLE;
  MPU_InitStruct.IsCacheable = MPU_ACCESS_NOT_CACHEABLE;
  MPU_InitStruct.IsBufferable = MPU_ACCESS_BUFFERABLE;

  HAL_MPU_ConfigRegion(&MPU_InitStruct);

  /** Initializes and configures the Region and the memory to be protected
  */
  MPU_InitStruct.Number = MPU_REGION_NUMBER1;
  MPU_InitStruct.BaseAddress = 0x30004000;
  MPU_InitStruct.Size = MPU_REGION_SIZE_16KB;
  MPU_InitStruct.SubRegionDisable = 0x0;
  MPU_InitStruct.TypeExtField = MPU_TEX_LEVEL1;
  MPU_InitStruct.IsShareable = MPU_ACCESS_SHAREABLE;
  MPU_InitStruct.IsBufferable = MPU_ACCESS_NOT_BUFFERABLE;

  HAL_MPU_ConfigRegion(&MPU_InitStruct);
  /* Enables the MPU */
  HAL_MPU_Enable(MPU_PRIVILEGED_DEFAULT);

}

void Error_Handler(void)
{
  __disable_irq();
  while (1)
  {
  }
}
